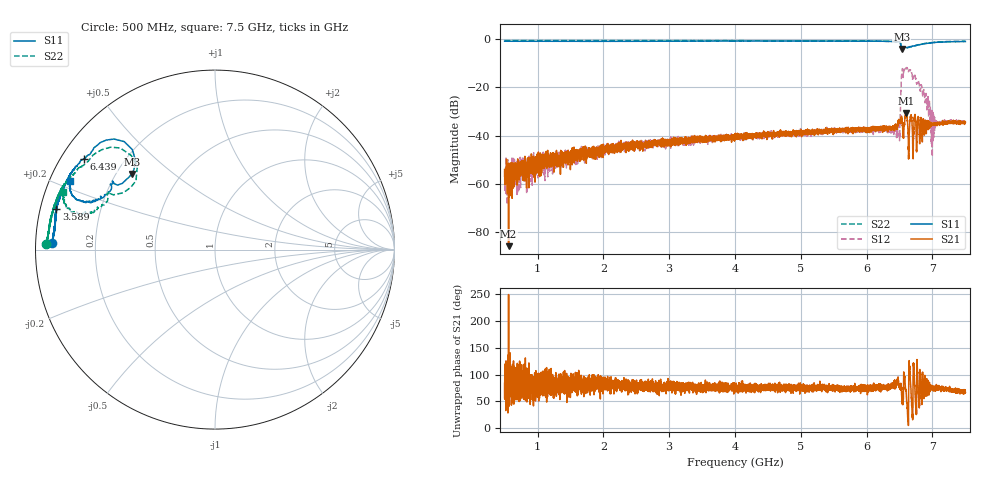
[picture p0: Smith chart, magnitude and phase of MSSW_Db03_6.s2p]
!Keysight Technologies,M9374A,MY55442783,A.12.55.05
!Date: Wednesday, May 19, 2021 16:01:16
!Correction: S11(Full 2 Port(1,2))
!S21(Full 2 Port(1,2))
!S12(Full 2 Port(1,2))
!S22(Full 2 Port(1,2))
!S2P File: Measurements: S11, S21, S12, S22:
# Hz S  RI  R 50
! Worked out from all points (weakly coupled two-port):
!   7001 points, 500 MHz to 7.5 GHz, reference 50 ohm
!   highest |S21| = -30.56 dB at 6.604 GHz (marker M1); lowest = -85.8 dB at 560 MHz (marker M2)
!   lowest |S11| = -4.1 dB at 6.534 GHz (marker M3), VSWR 4.34, Z = 13.1 + j18.1 ohm
!   |S11| at or under -10 dB: nowhere
!   |S22| runs from -4.7 to -0.5 dB; largest |S21 - S12| = 0.26
!   S11 on the Smith chart (normalised r, x): 500 MHz: 0.05, +0.02; 3.589 GHz: 0.05, +0.13; 6.439 GHz: 0.07, +0.31; 7.5 GHz: 0.06, +0.22
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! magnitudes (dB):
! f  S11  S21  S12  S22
! 500 MHz  -0.8  -54.0  -54.8  -0.5
! 560 MHz  -0.9  -85.8  -51.2  -0.6
! 1.667 GHz  -0.9  -47.9  -48.2  -0.6
! 2.834 GHz  -0.8  -43.5  -42.8  -0.6
! 3.589 GHz  -0.8  -41.0  -41.1  -0.6
! 4 GHz  -0.8  -39.6  -40.6  -0.7
! 5.167 GHz  -0.8  -38.7  -38.5  -0.7
! 6.334 GHz  -0.9  -37.4  -37.4  -0.9
! 6.439 GHz  -1.0  -36.3  -36.4  -1.2
! 6.483 GHz  -1.1  -34.1  -34.5  -1.3
! 6.534 GHz  -4.1  -32.7  -14.3  -4.6
! 6.558 GHz  -3.4  -40.2  -14.4  -3.4
! 6.604 GHz  -3.5  -30.6  -12.2  -3.6
! 6.708 GHz  -2.8  -43.6  -15.8  -2.9
! 6.732 GHz  -2.8  -31.3  -14.9  -2.8
! 6.754 GHz  -2.6  -41.0  -17.5  -2.6
! 6.782 GHz  -2.4  -32.1  -17.2  -2.4
! 6.803 GHz  -2.3  -41.3  -19.9  -2.2
! 6.848 GHz  -2.1  -39.4  -22.8  -2.0
! 6.923 GHz  -1.7  -35.2  -25.7  -1.6
! 7.005 GHz  -1.5  -35.6  -31.6  -1.3
! 7.5 GHz  -1.0  -34.4  -34.5  -0.9
